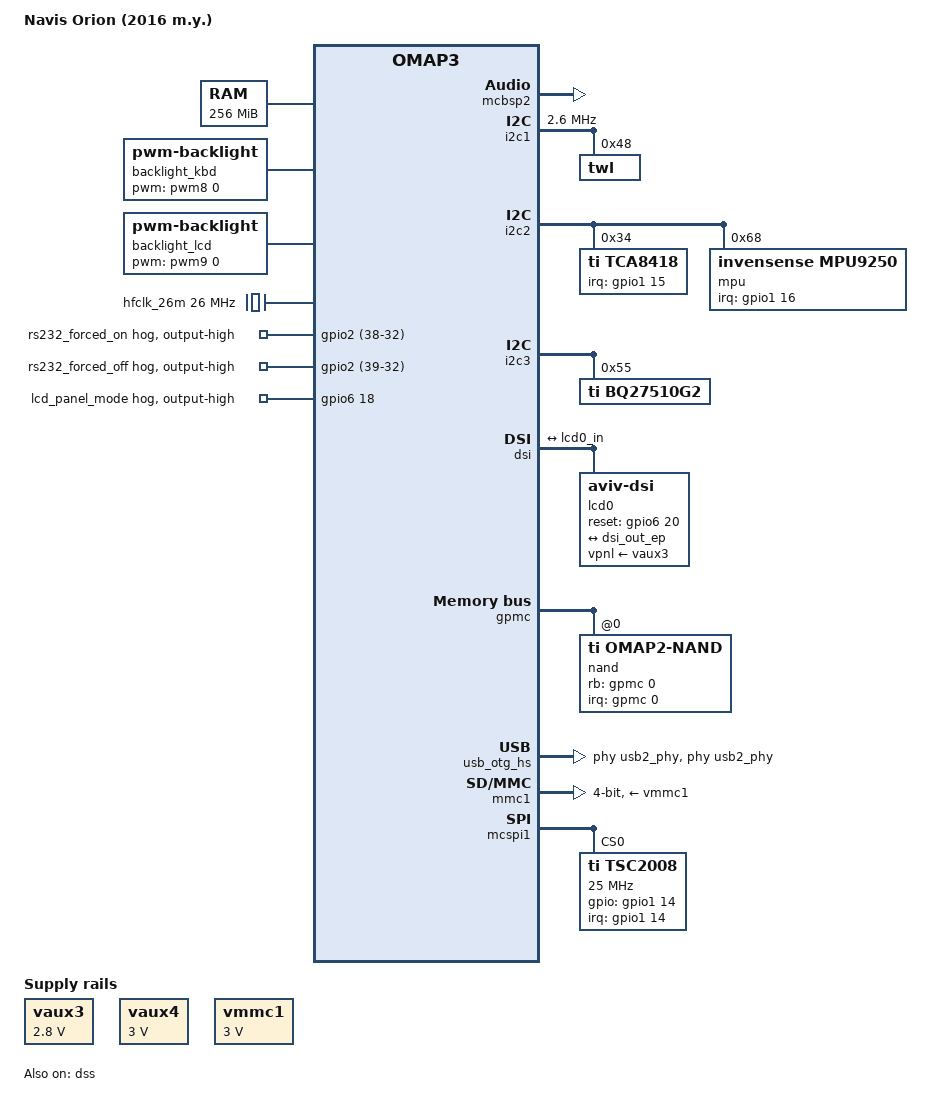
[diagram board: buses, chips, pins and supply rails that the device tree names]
// SPDX-License-Identifier: GPL-2.0-only
/*
 * Copyright (C) 2011 Texas Instruments Incorporated - http://www.ti.com/
 */
/dts-v1/;

#include "omap36xx.dtsi"
#include <dt-bindings/input/input.h>
/* #include "omap3-evm-common.dtsi" */
/* #include "omap3-evm-processor-common.dtsi" */

/ {
	model = "Navis Orion (2016 m.y.)";
	compatible = "navis,omap3-orion2016", "ti,omap3630", "ti,omap3";

	cpus {
		cpu@0 {
			cpu0-supply = <&vcc>;
		};
	};

	memory@80000000 {
		device_type = "memory";
		reg = <0x80000000 0x10000000>; /* 256 MB */
	};

	chosen {
		stdout-path = &uart3;
	};

	backlight_kbd: backlight_kbd {
		compatible = "pwm-backlight";
		pwms = <&pwm8 0 100000 0>; /* Omit flags (3rd pwm cell) */
		brightness-levels = <0 11 20 30 40 50 60 70 80 90 100>;
		default-brightness-level = <5>;	/* => 50 */
	};

	backlight_lcd: backlight_lcd {
		compatible = "pwm-backlight";
		pwms = <&pwm9 0 100000 0>; /* Omit flags (3rd pwm cell) */
		brightness-levels = <0 11 20 30 40 50 60 70 80 90 100>;
		default-brightness-level = <5>;	/* => 50 */
	};

	pwm8: dmtimer-pwm8 {
		compatible = "ti,omap-dmtimer-pwm";
		ti,timers = <&timer8>;
		ti,clock-source = <0>;
		#pwm-cells = <3>;
	};

	pwm9: dmtimer-pwm9 {
		compatible = "ti,omap-dmtimer-pwm";
		ti,timers = <&timer9>;
		ti,clock-source = <0>;
		#pwm-cells = <3>;
	};

	/* fixed 26MHz oscillator */
	hfclk_26m: oscillator {
		#clock-cells = <0>;
		compatible = "fixed-clock";
		clock-frequency = <26000000>;
	};

	sound: Orion2 {
		compatible = "orion2-audio";
		ti,model = "Orion2";
		ti,mcbsp = <&mcbsp2>;
		amp-gpio;    /* Use TWL4030 gpio control for amplifier regulation */
	};

	orion_gpio_uart_pinmux: orion-gpio-uart-pinmux {
		compatible = "orion-gpio-uart-pinmux";
	};
};

&mcbsp2{
	status = "ok";
};

&omap3_pmx_core {
	pinctrl-use-default;/*  X-Loader has muxed the pins. Let them be.*/
	/*uart2_pins: pinmux_uart2_pins {
		pinctrl-single,pins = <
		  OMAP3_CORE1_IOPAD(0x2170, PIN_OUTPUT | MUX_MODE1)
			OMAP3_CORE1_IOPAD(0x2172, WAKEUP_EN | PIN_INPUT | MUX_MODE1)
			>;
	};*/
};

&uart1 {
	interrupts-extended = <&intc 72 &omap3_pmx_core OMAP3_UART1_RX>;
};

&uart2 {
	interrupts-extended = <&intc 73 &omap3_pmx_core OMAP3_UART2_RX>;
	/*pinctrl-0 = <&uart2_pins>;*/
};

&uart3 {
	interrupts-extended = <&intc 74 &omap3_pmx_core OMAP3_UART3_RX>;
};

&gpio2 {
	rs232_forced_on {
		gpio-hog;
		gpios = <(38-32) GPIO_ACTIVE_HIGH>;	/* gpio_38 (address in gpio2) */
		output-high;
	};

	rs232_forced_off {
		gpio-hog;
		gpios = <(39-32) GPIO_ACTIVE_HIGH>;	/* gpio_39 (address in gpio2) */
		output-high;
	};
};

&gpio6 {
	lcd_panel_mode {
		gpio-hog;
		gpios = <18 GPIO_ACTIVE_HIGH>;
		output-high;
	};
};

&i2c1 {
	clock-frequency = <2600000>;

	twl: twl@48 {
		reg = <0x48>;
		interrupts = <7>; /* SYS_NIRQ cascaded to intc */
		interrupt-parent = <&intc>;

		clocks = <&hfclk_26m>;
		clock-names = "fck";

		twl_power: power {
			status = "okay";
			compatible = "ti,twl4030-power";
			ti,use_poweroff;
		};

		twl_audio: audio {
			compatible = "ti,twl4030-audio";
			ti,enable-vibra = <0>;
			codec {
			};
		};
	};
};

/* DTS for TCA 8418 */
&i2c2 {
	status = "okay";

	tca8418: keypad@34 {
		compatible = "ti,tca8418";
		reg = <0x34>;
		interrupt-parent = <&gpio1>;
		interrupts = <15 IRQ_TYPE_EDGE_FALLING>;
		linux,keymap = < MATRIX_KEY(0x00, 0x00, KEY_DOWN)
			               MATRIX_KEY(0x00, 0x01, KEY_E)
			               MATRIX_KEY(0x01, 0x00, KEY_LEFT)
			               MATRIX_KEY(0x01, 0x01, KEY_J)
			               MATRIX_KEY(0x01, 0x02, KEY_B)
			               MATRIX_KEY(0x02, 0x00, KEY_RIGHT)
			               MATRIX_KEY(0x02, 0x01, KEY_A)
			               MATRIX_KEY(0x03, 0x00, KEY_UP)
			               MATRIX_KEY(0x03, 0x01, KEY_ENTER)
			               MATRIX_KEY(0x03, 0x02, KEY_I)
		              >;
		keypad,num-rows = <8>;
		keypad,num-columns = <10>;
		keypad,autorepeat;
		wakeup-source;
	};

	mpu: mpu9250@68 {
		compatible = "invensense,mpu9250";
		reg = <0x68>;
		interrupt-parent = <&gpio1>;
		interrupts = <16 IRQ_TYPE_EDGE_RISING>;
	};
};

&i2c3 {
	status = "okay";

	bq27510g2: fuel-gauge@55 {
		compatible = "ti,bq27510g2";
		reg = <0x55>;
	};
};

#include "twl4030.dtsi"
/* #include "twl4030_omap3.dtsi" */

&vaux3 {
	regulator-min-microvolt = <2800000>;
	regulator-max-microvolt = <2800000>;
};

&vaux4 {
  regulator-min-microvolt = <3000000>;
  regulator-max-microvolt = <3000000>;
  regulator-always-on;
};

&dss {
	status = "ok";
};

&dsi {
	status = "ok";

	/*
	pinctrl-names = "default";
	pinctrl-0 = <&dsi_pins>;

	vdd-supply = <&vpll2>;
	 */

	port {
		dsi_out_ep: endpoint {
			remote-endpoint = <&lcd0_in>;
			lanes = <2 3 0 1 4 5>;
		};
	};

	lcd0: display {
		compatible = "aviv-dsi";
		label = "lcd0";

		/*
		pinctrl-names = "default";
		pinctrl-0 = <&display_pins>;
		*/

		vpnl-supply = <&vaux3>;
		/*
		vddi-supply = <&vio>;
		 */

		reset-gpios = <&gpio6 20 GPIO_ACTIVE_HIGH>;
		/*te-gpios = <&gpio2 30 GPIO_ACTIVE_HIGH>;	 62 */

		width-mm = <52>; /* 51.84 mm */
		height-mm = <86>; /* 86.4 mm */

		/* TODO:
		 * - panel is upside-down
		 * - top + bottom 5px are not visible
		 */
		panel-timing {
			clock-frequency = <0>;          /* Calculated by dsi */

			hback-porch = <20>;
			hactive = <488>;
			hfront-porch = <20>;
			hsync-len = <5>;

			vback-porch = <16>;
			vactive = <801>;
			vfront-porch = <1>;
			vsync-len = <1>;

			hsync-active = <0>;
			vsync-active = <0>;
			de-active = <1>;
			pixelclk-active = <1>;
		};

		port {
			lcd0_in: endpoint {
				remote-endpoint = <&dsi_out_ep>;
			};
		};
	};
};

&gpmc {
	status = "okay";
	ranges = <0 0 0x30000000 0x40000000>;	/* CS0 space, 1GB */

	nand@0,0 {
		status = "okay";
		compatible = "ti,omap2-nand";
		reg = <0 0 4>;		/* NAND I/O window, 4 bytes */
		interrupt-parent = <&gpmc>;
		interrupts = <0 IRQ_TYPE_NONE>, /* fifoevent */
			     <1 IRQ_TYPE_NONE>;	/* termcount */
		rb-gpios = <&gpmc 0 GPIO_ACTIVE_HIGH>; /* gpmc_wait0 */
		nand-bus-width = <16>;
		ti,nand-ecc-opt = "ham1";
		#address-cells = <1>;
		#size-cells = <1>;

		gpmc,sync-clk-ps = <0>;
		gpmc,cs-on-ns = <0>;
		gpmc,cs-rd-off-ns = <44>;
		gpmc,cs-wr-off-ns = <44>;
		gpmc,adv-on-ns = <6>;
		gpmc,adv-rd-off-ns = <34>;
		gpmc,adv-wr-off-ns = <44>;
		gpmc,we-off-ns = <40>;
		gpmc,oe-off-ns = <54>;
		gpmc,access-ns = <64>;
		gpmc,rd-cycle-ns = <82>;
		gpmc,wr-cycle-ns = <82>;
		gpmc,wr-access-ns = <40>;
		gpmc,wr-data-mux-bus-ns = <0>;


		x-loader@0 {
			label = "X-Loader";
			reg = <0 0x80000>;
		};

		bootloaders@80000 {
			label = "U-Boot";
			reg = <0x80000 0x140000>;
		};

		bootloaders_env@1c0000 {
			label = "U-Boot Env";
			reg = <0x1c0000 0xc0000>;
		};

		kernel@280000 {
			label = "Kernel";
			reg = <0x280000 0x500000>;
		};

		filesystem@780000 {
			label = "File System";
			reg = <0x780000 0x3e4e0000>;
		};

		imgmagic@3ec60000 {
			label = "Splash screen magic number";
			reg = <0x3ec60000 0x20000>;
		};

		img1@3ec80000 {
			label = "Splash image 1";
			reg = <0x3ec80000 0x180000>;
		};

		igm2@3ee00000 {
			label = "Splash image 2";
			reg = <0x3ee00000 0x180000>;
		};

		igm3@3ef80000 {
			label = "Splash image 3";
			reg = <0x3ef80000 0x180000>;
		};

		img4@3f100000 {
			label = "Splash image 4";
			reg = <0x3f100000 0x0>;	/* 0 = MTDPART_SIZ_FULL */
		};
	};
};

&usb_otg_hs {
	status = "okay";
	interface-type = <0>;
	usb-phy = <&usb2_phy>;
	phys = <&usb2_phy>;
	phy-names = "usb2-phy";
	mode = <3>;
	power = <50>;
};

&usbhshost {
	status = "disabled";
};

&vmmc1 {
	regulator-min-microvolt = <3000000>;
	regulator-max-microvolt = <3000000>;
	regulator-initial-mode = <0x0e>;
};

&mmc1 {
	vmmc-supply = <&vmmc1>;
	bus-width = <4>;
	status = "okay";
	broken-cd;
	disable-wp;
};

&mcspi1 {
	status = "okay";

	tsc2008@0{
		compatible = "ti,tsc2008";
		spi-max-frequency = <25000000>;
		reg = <0>;

		interrupts-extended = <&gpio1 14 IRQ_TYPE_EDGE_RISING>;
		gpios = <&gpio1 14 GPIO_ACTIVE_HIGH>;	/* GPIO_14 for penup/pendown */

		max-bits = <12>;       /* supports only: 8 bit (256x256), 12 (4096x4096) */
		touchscreen-min-x = <0>;
		touchscreen-min-y = <0>;
		touchscreen-min-pressure = <0>;
		touchscreen-size-x = <4096>;
		touchscreen-size-y = <4096>;
		touchscreen-max-pressure = <2048>;
		touchscreen-fuzz-x = <4>;
		touchscreen-fuzz-y = <7>;
		touchscreen-fuzz-pressure = <2>;

		ti,x-plate-ohms = <450>;
	};
};
